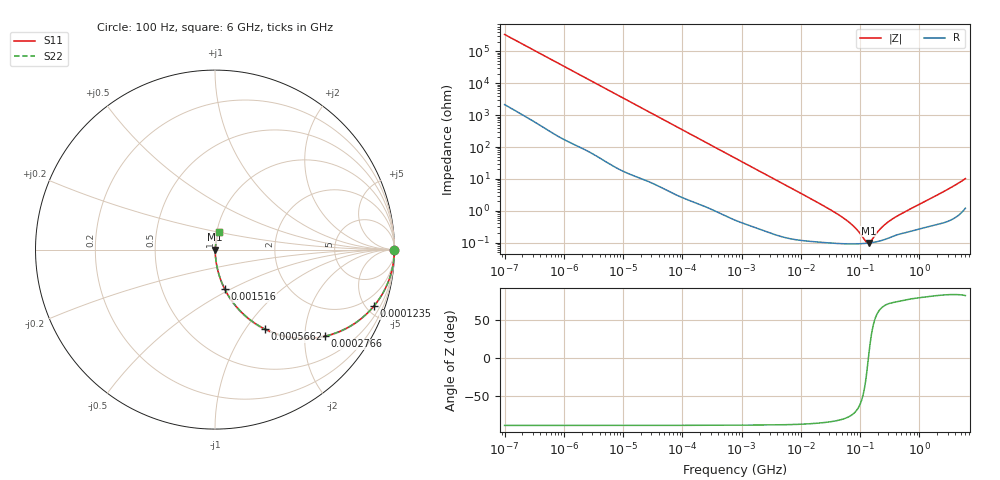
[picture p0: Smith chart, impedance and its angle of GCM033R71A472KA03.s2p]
!Murata Part Number: GCM033R71A472KA03
!These Parameters are Measured in Series Mode Connection
!  o--ll--o
!Port1  Port2
!  o------o
!Operation Temp=25[degC], DC Bias Voltage=0[V]
!Freq. Start=100[Hz] Stop=6[GHz], 401[Steps]
!Data Generated on Nov 6, 2018
# Hz S RI R 50
!Freq.(Hz) S11(Real) S11(Imag) S21(Real) S21(Imag) S12(Real) S12(Imag) S22(Real) S22(Imag)
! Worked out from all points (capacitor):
!   401 points, 100 Hz to 6 GHz, reference 50 ohm
!   read as one part in series: C = 4.71 nF near 109.4 Hz
!   lowest |Z| = 97.6 mohm at 139.6 MHz (marker M1)
!   series resonance near 138.4 MHz, so ESL is about 280 pH
!   S11 on the Smith chart (normalised r, x): 100 Hz: open; 123.5 kHz: 1.04, -5.60; 276.6 kHz: 1.02, -2.51; 566.2 kHz: 1.01, -1.23; 1.516 MHz: 1.01, -0.46; 6 GHz: 1.02, +0.20
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100  1 -0.000296  1.96e-06 0.000296  1.96e-06 0.000296  1 -0.000296
2008.354  0.9999 -0.00589  6.66e-05 0.00589  6.66e-05 0.00589  0.9999 -0.00589
12592.18  0.9985 -0.0366  0.00154 0.0366  0.00154 0.0366  0.9985 -0.0366
40334.87  0.9857 -0.1153  0.0143 0.1153  0.0143 0.1153  0.9857 -0.1153
123542.1  0.8851 -0.315  0.1149 0.315  0.1149 0.315  0.8851 -0.315
184851.7  0.7768 -0.412  0.2232 0.412  0.2232 0.412  0.7768 -0.412
276587.1  0.6115 -0.4826  0.3885 0.4826  0.3885 0.4826  0.6115 -0.4826
395726.3  0.4375 -0.491  0.5625 0.491  0.5625 0.491  0.4375 -0.491
566184.5  0.2778 -0.4426  0.7222 0.4426  0.7222 0.4426  0.2778 -0.4426
774596.7  0.1723 -0.372  0.8277 0.372  0.8277 0.372  0.1723 -0.372
1516199  0.0537 -0.2186  0.9463 0.2186  0.9463 0.2186  0.0537 -0.2186
4060267  0.00917 -0.0861  0.9908 0.0861  0.9908 0.0861  0.00917 -0.0861
1.555665e7  0.00159 -0.0226  0.9984 0.0226  0.9984 0.0226  0.00159 -0.0226
5.960426e7  0.000942 -0.00491  0.9991 0.00491  0.9991 0.00491  0.000942 -0.00491
8.527865e7  0.000924 -0.00261  0.9991 0.00261  0.9991 0.00261  0.000924 -0.00261
1.220122e8  0.00095 -0.000654  0.9991 0.000654  0.9991 0.000654  0.00095 -0.000654
1.395531e8  0.000974 4.46e-05  0.999 -4.46e-05  0.999 -4.46e-05  0.000974 4.46e-05
1.526266e8  0.000995 0.000509  0.999 -0.000509  0.999 -0.000509  0.000995 0.000509
2.283698e8  0.00117 0.00268  0.9988 -0.00268  0.9988 -0.00268  0.00117 0.00268
3.124326e8  0.00144 0.00455  0.9986 -0.00455  0.9986 -0.00455  0.00144 0.00455
2.048624e9  0.0047 0.0314  0.9953 -0.0314  0.9953 -0.0314  0.0047 0.0314
6e9  0.0217 0.098  0.9783 -0.098  0.9783 -0.098  0.0217 0.098
